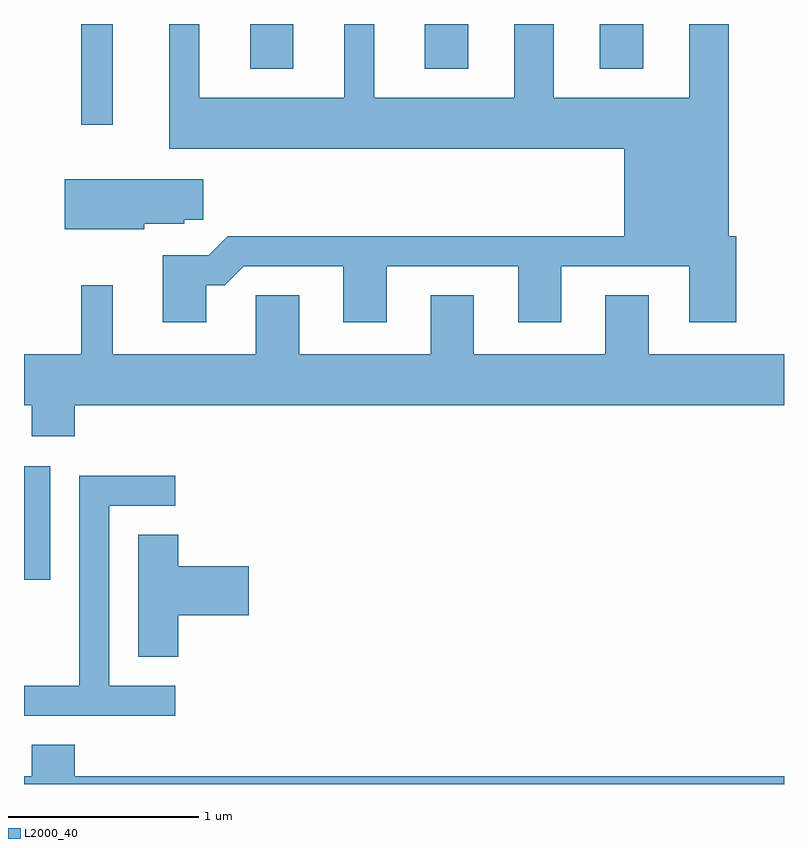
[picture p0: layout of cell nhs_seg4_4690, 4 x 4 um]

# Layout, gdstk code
import gdstk
lib = gdstk.Library(unit=1e-6, precision=1e-09)
def R(c, l, rs):  # rectangles x0, y0, x1, y1
    for r in rs: c.add(gdstk.rectangle(r[:2], r[2:], *l))
def A(c, l, x, y, w, h, nx, ny, dx, dy):  # array of equal rectangles
    R(c, l, [(x+i*dx, y+j*dy, x+i*dx+w, y+j*dy+h) for i in range(nx) for j in range(ny)])
def P(c, l, *ps):  # polygons
    for p in ps: c.add(gdstk.Polygon(p, *l))
L2000_40 = (2000, 40)

nhs_seg4_4690 = lib.new_cell('nhs_seg4_4690')
A(nhs_seg4_4690, L2000_40, 322.801, 1389.746, 0.228, 0.236, 3, 1, 0.92, 0)
R(nhs_seg4_4690, L2000_40, [(321.611,1387.056,321.749,1387.654), (321.911,1389.453,322.079,1389.982)])
P(nhs_seg4_4690, L2000_40, [(322.569,1388.606),(322.667,1388.606),(322.767,1388.706),(323.291,1388.706),(323.291,1388.411),(323.519,1388.411),(323.519,1388.706),(324.211,1388.706),(324.211,1388.411),(324.439,1388.411),(324.439,1388.706),(325.111,1388.706),(325.111,1388.411),(325.359,1388.411),(325.359,1388.864),(325.319,1388.864),(325.319,1389.982),(325.111,1389.982),(325.111,1389.594),(324.399,1389.594),(324.399,1389.982),(324.191,1389.982),(324.191,1389.594),(323.454,1389.594),(323.454,1389.982),(323.296,1389.982),(323.296,1389.594),(322.534,1389.594),(322.534,1389.982),(322.376,1389.982),(322.376,1389.326),(324.771,1389.326),(324.771,1388.864),(322.684,1388.864),(322.584,1388.764),(322.341,1388.764),(322.341,1388.411),(322.569,1388.411)],
  [(322.244,1388.931),(322.454,1388.931),(322.454,1388.951),(322.554,1388.951),(322.554,1389.164),(321.826,1389.164),(321.826,1388.901),(322.244,1388.901)],
  [(321.879,1387.976),(325.611,1387.976),(325.611,1388.244),(324.899,1388.244),(324.899,1388.554),(324.671,1388.554),(324.671,1388.244),(323.979,1388.244),(323.979,1388.554),(323.751,1388.554),(323.751,1388.244),(323.059,1388.244),(323.059,1388.554),(322.831,1388.554),(322.831,1388.244),(322.079,1388.244),(322.079,1388.608),(321.911,1388.608),(321.911,1388.244),(321.611,1388.244),(321.611,1387.976),(321.651,1387.976),(321.651,1387.811),(321.879,1387.811)],
  [(322.408,1386.499),(322.059,1386.499),(322.059,1387.446),(322.408,1387.446),(322.408,1387.604),(321.901,1387.604),(321.901,1386.499),(321.611,1386.499),(321.611,1386.341),(322.408,1386.341)],
  [(322.424,1386.871),(322.794,1386.871),(322.794,1387.129),(322.424,1387.129),(322.424,1387.294),(322.211,1387.294),(322.211,1386.651),(322.424,1386.651)],
  [(325.611,1386.024),(321.879,1386.024),(321.879,1386.189),(321.651,1386.189),(321.651,1386.024),(321.611,1386.024),(321.611,1385.982),(325.611,1385.982)])

lib.write_gds('nhs_seg4_4690.gds')
